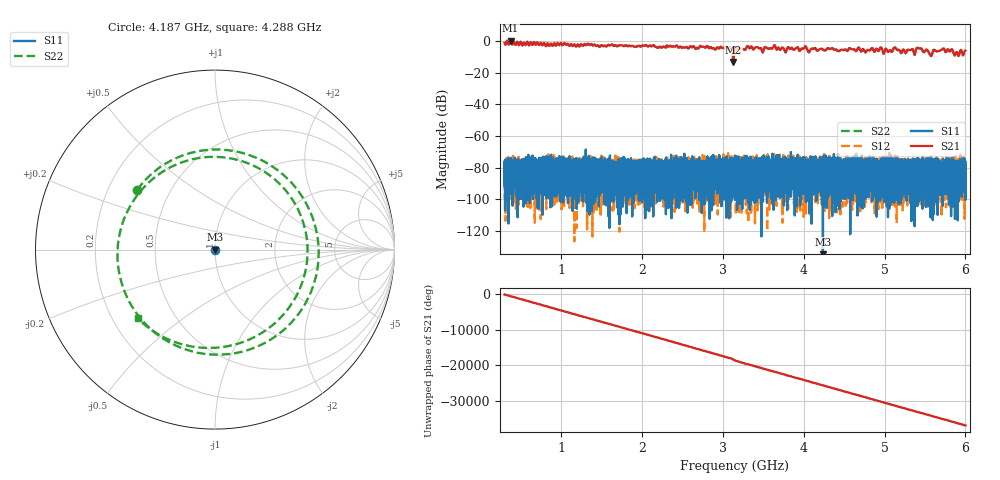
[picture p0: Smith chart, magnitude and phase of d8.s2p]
!Agilent Technologies,N5230C,SG49000117,A.08.50.07
!Agilent N5230C: A.08.50.07
!Date: Sunday, March 17, 2024 02:29:09
!Correction: S11(Off)
!S21(Off)
!S12(Off)
!S22(Off)
!S2P File: Measurements: S11, S21, S12, S22:
# Hz S  RI  R 50
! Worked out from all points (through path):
!   20001 points, 300 MHz to 6 GHz, reference 50 ohm
!   highest |S21| = 0.42 dB at 373 MHz (marker M1); lowest = -13.1 dB at 3.129 GHz (marker M2)
!   lowest |S11| = -136.5 dB at 4.238 GHz (marker M3), VSWR 1.00, Z = 50 - j1.46e-05 ohm
!   |S11| at or under -10 dB: start of sweep to end of sweep
!   |S22| runs from -13.1 to 0.5 dB; largest |S21 - S12| = 1
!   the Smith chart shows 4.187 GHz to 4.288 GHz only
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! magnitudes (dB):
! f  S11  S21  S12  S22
! 300 MHz  -91.6  -1.1  -78.6  -1.0
! 373 MHz  -82.3  0.4  -81.3  0.4
! 1.25 GHz  -82.9  -1.9  -85.5  -1.9
! 2.2 GHz  -82.1  -4.2  -97.7  -4.2
! 3.072 GHz  -91.9  -3.9  -84.8  -3.9
! 3.129 GHz  -81.2  -13.1  -83.7  -13.1
! 3.15 GHz  -87.7  -4.1  -84.6  -4.1
! 3.169 GHz  -100.5  -5.5  -78.9  -5.4
! 3.326 GHz  -96.1  -4.4  -92.8  -4.4
! 3.48 GHz  -81.2  -5.4  -85.5  -5.3
! 3.629 GHz  -73.9  -3.1  -77.2  -3.0
! 3.769 GHz  -85.8  -6.5  -82.6  -6.5
! 4.1 GHz  -83.7  -4.7  -92.1  -4.6
! 4.238 GHz  -136.5  -5.3  -86.1  -5.2
! 5.05 GHz  -83.5  -6.6  -74.5  -6.6
! 5.13 GHz  -89.2  -3.9  -80.4  -3.9
! 5.365 GHz  -79.6  -7.7  -91.9  -7.8
! 5.424 GHz  -85.2  -4.5  -77.2  -4.6
! 5.567 GHz  -79.9  -8.8  -83.7  -8.9
! 5.715 GHz  -81.1  -5.1  -78.0  -5.1
! 5.89 GHz  -82.9  -6.9  -88.9  -7.0
! 6 GHz  -87.0  -5.9  -82.5  -6.0
